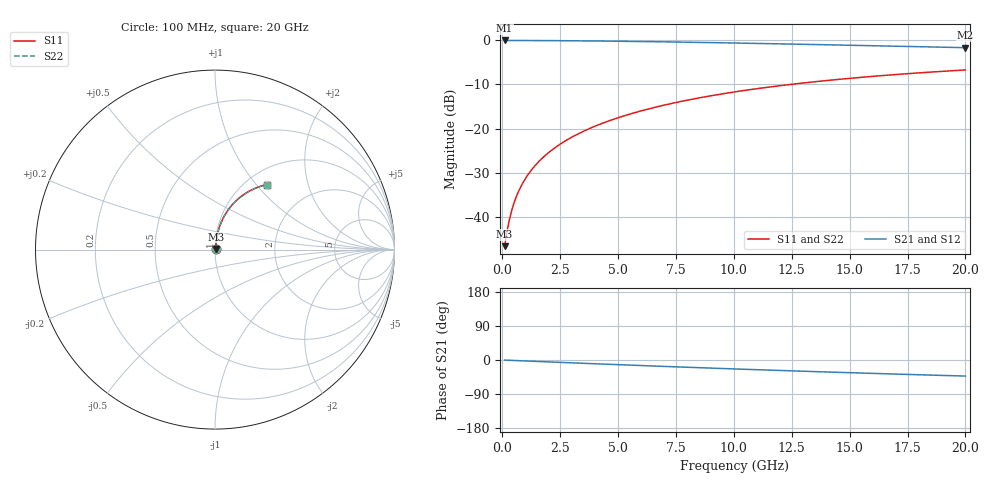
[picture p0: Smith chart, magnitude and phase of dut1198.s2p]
! Touchstone file exported from HFSS 2024.1.0
!  File:  C:/UserFiles/LocalFiles/RDL_TSV_Batchsim/temp_RDL_top_1198_1780049849.aedt
!  Generated:  06:19:33 PM May 29, 2026
!  Design:  RDL_top
!  Project:  temp_RDL_top_1198_1780049849
!  Setup:  Setup1
!  Solution:  Sweep
! Variables:
!  dtsv = 10.80580581um
!  hbump = 3um
!  htsv = 82.71um
!  ldown = 100um
!  lrdl = 536.56um
!  p = 40
!  p1 = 54.55um
!  rhole = 1um
!  t = 450um
!  tdown = 3.915915916um
!  trdl = 3.53um
!  wdown = 15.38538539um
!  wrdl = 14.82um
# GHz S MA R 50.000000
! Terminal data exported
! Port[1] = Box2_T1
! Port[2] = Box2_T2
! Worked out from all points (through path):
!   200 points, 100 MHz to 20 GHz, reference 50 ohm
!   highest |S21| = -0.03 dB at 100 MHz (marker M1); lowest = -1.7 dB at 20 GHz (marker M2)
!   group delay of S21, straight-line fit = 5.88 ps
!   lowest |S11| = -46.6 dB at 100 MHz (marker M3), VSWR 1.01, Z = 50.4 + j0.28 ohm
!   |S11| at or under -10 dB: start of sweep to 12.43 GHz
!   |S22| runs from -46.6 to -6.7 dB; largest |S21 - S12| = 3.9e-15
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0.1  0.004665 36.6  0.9963 -0.3  0.9963 -0.3  0.004665 36.6
! Gamma 0 0 0 0
! Port Impedance 50 0 50 0
0.2  0.006738 55.3  0.9962 -0.5  0.9962 -0.5  0.006738 55.3
0.3  0.009159 64.3  0.996 -0.8  0.996 -0.8  0.009159 64.3
0.4  0.01168 69.3  0.9959 -1.0  0.9959 -1.0  0.01168 69.3
0.5  0.01425 72.5  0.9957 -1.3  0.9957 -1.3  0.01425 72.5
0.6  0.01682 74.7  0.9956 -1.5  0.9956 -1.5  0.01682 74.7
0.8  0.02201 77.5  0.9952 -2.0  0.9952 -2.0  0.02201 77.5
1.1  0.02984 79.7  0.9947 -2.8  0.9947 -2.8  0.02984 79.7
1.5  0.04034 81.0  0.9938 -3.8  0.9938 -3.8  0.04034 81.0
1.8  0.04824 81.5  0.9929 -4.5  0.9929 -4.5  0.04824 81.5
2.1  0.05617 81.6  0.992 -5.3  0.992 -5.3  0.05617 81.6
2.7  0.07204 81.5  0.9896 -6.8  0.9896 -6.8  0.07204 81.5
3.5  0.09321 80.7  0.9858 -8.7  0.9858 -8.7  0.0932 80.7
4.2  0.1117 79.8  0.9818 -10.4  0.9818 -10.4  0.1117 79.8
5  0.1328 78.6  0.9765 -12.3  0.9765 -12.3  0.1328 78.6
5.9  0.1563 77.1  0.9698 -14.4  0.9698 -14.4  0.1563 77.1
6.8  0.1797 75.6  0.9625 -16.5  0.9625 -16.5  0.1796 75.6
8.4  0.2203 72.6  0.9482 -20.1  0.9482 -20.1  0.2203 72.6
10.1  0.2621 69.4  0.9316 -23.7  0.9316 -23.7  0.262 69.4
13.4  0.3375 63.1  0.897 -30.5  0.897 -30.5  0.3374 63.1
16.7  0.4042 57.2  0.861 -36.7  0.861 -36.7  0.4041 57.1
20  0.4618 51.5  0.825 -42.4  0.825 -42.4  0.4617 51.5
